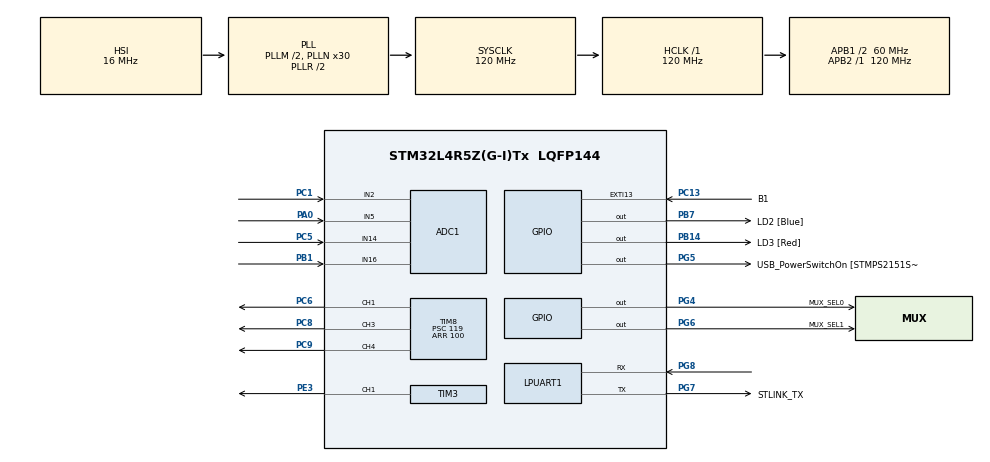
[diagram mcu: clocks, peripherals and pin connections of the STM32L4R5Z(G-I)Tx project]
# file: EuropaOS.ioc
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ADC1.Channel-12\#ChannelRegularConversion=ADC_CHANNEL_14
ADC1.Channel-13\#ChannelRegularConversion=ADC_CHANNEL_5
ADC1.Channel-14\#ChannelRegularConversion=ADC_CHANNEL_16
ADC1.Channel-15\#ChannelRegularConversion=ADC_CHANNEL_2
ADC1.ContinuousConvMode=ENABLE
ADC1.ExternalTrigConv=ADC_SOFTWARE_START
ADC1.NbrOfConversion=4
ADC1.NbrOfConversionFlag=1
ADC1.OffsetNumber-12\#ChannelRegularConversion=ADC_OFFSET_NONE
ADC1.OffsetNumber-13\#ChannelRegularConversion=ADC_OFFSET_NONE
ADC1.OffsetNumber-14\#ChannelRegularConversion=ADC_OFFSET_NONE
ADC1.OffsetNumber-15\#ChannelRegularConversion=ADC_OFFSET_NONE
ADC1.Rank-12\#ChannelRegularConversion=1
ADC1.Rank-13\#ChannelRegularConversion=2
ADC1.Rank-14\#ChannelRegularConversion=3
ADC1.Rank-15\#ChannelRegularConversion=4
ADC1.SamplingTime-12\#ChannelRegularConversion=ADC_SAMPLETIME_92CYCLES_5
ADC1.SamplingTime-13\#ChannelRegularConversion=ADC_SAMPLETIME_92CYCLES_5
ADC1.SamplingTime-14\#ChannelRegularConversion=ADC_SAMPLETIME_92CYCLES_5
ADC1.SamplingTime-15\#ChannelRegularConversion=ADC_SAMPLETIME_92CYCLES_5
ADC1.master=1
FREERTOS.BinarySemaphores01=BinarySem01,Dynamic,NULL
FREERTOS.Tasks01=defaultTask,24,128,StartDefaultTask,Default,NULL,Dynamic,NULL,NULL;VASensors_Task,40,640,va_task,As external,&va_data,Dynamic,NULL,NULL;Motor_Task,40,640,motor_task,Default,&motor_info,Dynamic,NULL,NULL
FREERTOS.configTOTAL_HEAP_SIZE=6500
FREERTOS.configUSE_NEWLIB_REENTRANT=1
LPUART1.WordLength=UART_WORDLENGTH_8B
Mcu.Family=STM32L4
Mcu.Name=STM32L4R5Z(G-I)Tx
Mcu.Package=LQFP144
NVIC.LPUART1_IRQn=true\:5\:0\:false\:false\:true\:true\:true\:true\:true
NVIC.PriorityGroup=NVIC_PRIORITYGROUP_4
NVIC.TIM1_UP_TIM16_IRQn=true\:15\:0\:false\:false\:true\:false\:false\:true\:true
NVIC.TimeBase=TIM1_UP_TIM16_IRQn
NVIC.TimeBaseIP=TIM1
PA0.Signal=ADCx_IN5
PA1.Signal=ADCx_IN6
PA10.GPIO_Label=USB_ID
PA10.Signal=USB_OTG_FS_ID
PA11.GPIO_Label=USB_DM
PA11.Signal=USB_OTG_FS_DM
PA12.GPIO_Label=USB_DP
PA12.Signal=USB_OTG_FS_DP
PA13\ (JTMS/SWDIO).GPIO_Label=TMS
PA13\ (JTMS/SWDIO).Mode=Trace_Asynchronous_SW
PA13\ (JTMS/SWDIO).Signal=SYS_JTMS-SWDIO
PA14\ (JTCK/SWCLK).GPIO_Label=TCK
PA14\ (JTCK/SWCLK).Mode=Trace_Asynchronous_SW
PA14\ (JTCK/SWCLK).Signal=SYS_JTCK-SWCLK
PA7.Signal=ADCx_IN12
PA8.GPIO_Label=USB_SOF [TP1]
PA8.Signal=USB_OTG_FS_SOF
PA9.GPIO_Label=USB_VBUS
PA9.Signal=USB_OTG_FS_VBUS
PB1.Signal=ADCx_IN16
PB14.GPIO_Label=LD3 [Red]
PB14.Signal=GPIO_Output
PB3\ (JTDO/TRACESWO).GPIO_Label=SWO
PB3\ (JTDO/TRACESWO).Mode=Trace_Asynchronous_SW
PB3\ (JTDO/TRACESWO).Signal=SYS_JTDO-SWO
PB7.GPIO_Label=LD2 [Blue]
PB7.Signal=GPIO_Output
PC1.Signal=ADCx_IN2
PC13.GPIO_Label=B1
PC13.Signal=GPXTI13
PC14-OSC32_IN\ (PC14).Mode=LSE-External-Oscillator
PC14-OSC32_IN\ (PC14).Signal=RCC_OSC32_IN
PC15-OSC32_OUT\ (PC15).Mode=LSE-External-Oscillator
PC15-OSC32_OUT\ (PC15).Signal=RCC_OSC32_OUT
PC5.Signal=ADCx_IN14
PC6.Signal=S_TIM8_CH1
PC8.Signal=S_TIM8_CH3
PC9.Signal=S_TIM8_CH4
PD8.GPIO_Label=STLK_RX [STM32F103CBT6_PA3]
PD8.Signal=USART3_TX
PD9.GPIO_Label=STLK_TX [STM32F103CBT6_PA2]
PD9.Signal=USART3_RX
PE3.Signal=S_TIM3_CH1
PG4.GPIO_Label=MUX_SEL0
PG4.Signal=GPIO_Output
PG5.GPIO_Label=USB_PowerSwitchOn [STMPS2151STR_EN]
PG5.Signal=GPIO_Output
PG6.GPIO_Label=MUX_SEL1
PG6.Signal=GPIO_Output
PG7.GPIO_Label=STLINK_TX
PG7.Mode=Asynchronous
PG7.Signal=LPUART1_TX
PG8.Mode=Asynchronous
PG8.Signal=LPUART1_RX
PH0-OSC_IN\ (PH0).Mode=HSE-External-Oscillator
PH0-OSC_IN\ (PH0).Signal=RCC_OSC_IN
PH1-OSC_OUT\ (PH1).Mode=HSE-External-Oscillator
PH1-OSC_OUT\ (PH1).Signal=RCC_OSC_OUT
ProjectManager.HeapSize=0x200
ProjectManager.StackSize=0x400
ProjectManager.TargetToolchain=STM32CubeIDE
RCC.48MHZClocksFreq_Value=24000000
RCC.ADCFreq_Value=48000000
RCC.AHBFreq_Value=120000000
RCC.APB1CLKDivider=RCC_HCLK_DIV2
RCC.APB1Freq_Value=60000000
RCC.APB1TimFreq_Value=120000000
RCC.APB2Freq_Value=120000000
RCC.APB2TimFreq_Value=120000000
RCC.CK48CLockSelection=RCC_USBCLKSOURCE_HSI48
RCC.CortexFreq_Value=120000000
RCC.HCLKFreq_Value=120000000
RCC.HSE_VALUE=8000000
RCC.HSI48_VALUE=48000000
RCC.HSI_VALUE=16000000
RCC.MSI_VALUE=4000000
RCC.PLLM1=2
RCC.PLLM2=2
RCC.PLLMUL=RCC_PLL_MUL9
RCC.PLLN=30
RCC.PLLSAI1N=12
RCC.PLLSourceVirtual=RCC_PLLSOURCE_HSI
RCC.PRESCALERUSB=RCC_USBCLKSOURCE_PLL_DIV1_5
RCC.SYSCLKFreq_VALUE=120000000
RCC.SYSCLKSource=RCC_SYSCLKSOURCE_PLLCLK
RCC.SYSCLKSourceVirtual=RCC_SYSCLKSOURCE_PLLCLK
RCC.USBFreq_Value=48000000
RCC.VCOOutputFreq_Value=240000000
SH.ADCx_IN12.0=ADC1_IN12
SH.ADCx_IN14.0=ADC1_IN14,IN14-Single-Ended
SH.ADCx_IN16.0=ADC1_IN16,IN16-Single-Ended
SH.ADCx_IN2.0=ADC1_IN2,IN2-Single-Ended
SH.ADCx_IN5.0=ADC1_IN5,IN5-Single-Ended
SH.ADCx_IN6.0=ADC1_IN6
SH.S_TIM3_CH1.0=TIM3_CH1,PWM Generation1 CH1
SH.S_TIM8_CH1.0=TIM8_CH1,PWM Generation1 CH1
SH.S_TIM8_CH3.0=TIM8_CH3,PWM Generation3 CH3
SH.S_TIM8_CH4.0=TIM8_CH4,PWM Generation4 CH4
TIM3.Channel-PWM\ Generation1\ CH1=TIM_CHANNEL_1
TIM3.Period=19999
TIM3.Prescaler=119
TIM8.Channel-PWM\ Generation1\ CH1=TIM_CHANNEL_1
TIM8.Channel-PWM\ Generation3\ CH3=TIM_CHANNEL_3
TIM8.Channel-PWM\ Generation4\ CH4=TIM_CHANNEL_4
TIM8.Period=100
TIM8.Prescaler=119
VP_FREERTOS_VS_CMSIS_V2.Mode=CMSIS_V2
VP_SYS_VS_tim1.Mode=TIM1
VP_TIM3_VS_ClockSourceINT.Mode=Internal
VP_TIM8_VS_ClockSourceITR.Mode=TriggerSource_ITR0
VP_TIM8_VS_ControllerModeClock.Mode=Clock Mode
board=NUCLEO-L4R5ZI

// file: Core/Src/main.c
/* USER CODE BEGIN Header */
/**
  ******************************************************************************
  * @file           : main.c
  * @brief          : Main program body
  ******************************************************************************
  * @attention
  *
  * Copyright (c) 2023 STMicroelectronics.
  * All rights reserved.
  *
  * This software is licensed under terms that can be found in the LICENSE file
  * in the root directory of this software component.
  * If no LICENSE file comes with this software, it is provided AS-IS.
  *
  ******************************************************************************
  */
/* USER CODE END Header */
#include "main.h"
#include "cmsis_os.h"

/* USER CODE BEGIN Includes */
#include "uart.h"
#include <stdio.h>
/* USER CODE END Includes */

ADC_HandleTypeDef hadc1;

UART_HandleTypeDef hlpuart1;

TIM_HandleTypeDef htim3;
TIM_HandleTypeDef htim8;

/* Definitions for defaultTask */
osThreadId_t defaultTaskHandle;
const osThreadAttr_t defaultTask_attributes = {
  .name = "defaultTask",
  .stack_size = 128 * 4,
  .priority = (osPriority_t) osPriorityNormal,
};
/* Definitions for VASensors_Task */
osThreadId_t VASensors_TaskHandle;
const osThreadAttr_t VASensors_Task_attributes = {
  .name = "VASensors_Task",
  .stack_size = 640 * 4,
  .priority = (osPriority_t) osPriorityHigh,
};
/* Definitions for Motor_Task */
osThreadId_t Motor_TaskHandle;
const osThreadAttr_t Motor_Task_attributes = {
  .name = "Motor_Task",
  .stack_size = 640 * 4,
  .priority = (osPriority_t) osPriorityHigh,
};
/* Definitions for BinarySem01 */
osSemaphoreId_t BinarySem01Handle;
const osSemaphoreAttr_t BinarySem01_attributes = {
  .name = "BinarySem01"
};
/* USER CODE BEGIN PV */
uint8_t rx[1];
uint8_t data_ready = 0;
/* USER CODE END PV */

void SystemClock_Config(void);
static void MX_GPIO_Init(void);
static void MX_ADC1_Init(void);
static void MX_TIM3_Init(void);
static void MX_LPUART1_UART_Init(void);
static void MX_TIM8_Init(void);
void StartDefaultTask(void *argument);
extern void va_task(void *argument);
void motor_task(void *argument);

/* USER CODE BEGIN 0 */
void HAL_UART_RxCpltCallback(UART_HandleTypeDef *huart) {
	if (huart->Instance == hlpuart1.Instance) {
	    HAL_UART_Receive_IT(&hlpuart1, rx, 1);
	    data_ready = 1;
	}
}
/* USER CODE END 0 */

int main(void)
{
  /* USER CODE BEGIN 1 */
	uint32_t adc_buff[1];
	char str[50];
	uint32_t len;

	motor_info_t motor_info = {
		.gpio_port = 0,//GPIOC,
		.en_pin = 0,//MOTOR_EN_Pin,
		.fwd_pin = 0,//MOTOR_FWD_Pin,
		.rev_pin = 0//MOTOR_REV_Pin
	};

	va_info_t va_data = {
			.adc_handle = &hadc1,
			.uart = &hlpuart1,
			.buff = adc_buff,
			.sem = &BinarySem01Handle
	};

  /* USER CODE END 1 */

  /* MCU Configuration--------------------------------------------------------*/

  /* Reset of all peripherals, Initializes the Flash interface and the Systick. */
  HAL_Init();

  /* Configure the system clock */
  SystemClock_Config();

  /* Initialize all configured peripherals */
  MX_GPIO_Init();
  MX_ADC1_Init();
  MX_TIM3_Init();
  MX_LPUART1_UART_Init();
  MX_TIM8_Init();
  /* USER CODE BEGIN 2 */
  HAL_UART_Receive_IT(&hlpuart1, rx, 1);
  /* USER CODE END 2 */

  /* Init scheduler */
  osKernelInitialize();

  /* Create the semaphores(s) */
  /* creation of BinarySem01 */
  BinarySem01Handle = osSemaphoreNew(1, 1, &BinarySem01_attributes);

  /* Create the thread(s) */
  /* creation of defaultTask */
  defaultTaskHandle = osThreadNew(StartDefaultTask, NULL, &defaultTask_attributes);

  /* creation of VASensors_Task */
  VASensors_TaskHandle = osThreadNew(va_task, (void*) &va_data, &VASensors_Task_attributes);

  /* creation of Motor_Task */
  Motor_TaskHandle = osThreadNew(motor_task, (void*) &motor_info, &Motor_Task_attributes);

  /* USER CODE BEGIN RTOS_EVENTS */
  /* add events, ... */
  len = sprintf(str, "Starting RTOS Tasks...\r\n");
  print(&hlpuart1, str, len);
  /* USER CODE END RTOS_EVENTS */

  /* Start scheduler */
  osKernelStart();

  /* We should never get here as control is now taken by the scheduler */
  /* Infinite loop */
  while (1)
  {

    /* USER CODE BEGIN 3 */
//	sprintf(tx, "ADC VALUE: %ld\r\n", adc_buff[0]);
//	print(&hlpuart1, tx, sizeof(tx));
//	HAL_Delay(500);
  }
  /* USER CODE END 3 */
}

void SystemClock_Config(void)
{
  RCC_OscInitTypeDef RCC_OscInitStruct = {0};
  RCC_ClkInitTypeDef RCC_ClkInitStruct = {0};

  /** Configure the main internal regulator output voltage
  */
  if (HAL_PWREx_ControlVoltageScaling(PWR_REGULATOR_VOLTAGE_SCALE1_BOOST) != HAL_OK)
  {
    Error_Handler();
  }

  /** Initializes the RCC Oscillators according to the specified parameters
  * in the RCC_OscInitTypeDef structure.
  */
  RCC_OscInitStruct.OscillatorType = RCC_OSCILLATORTYPE_HSI;
  RCC_OscInitStruct.HSIState = RCC_HSI_ON;
  RCC_OscInitStruct.HSICalibrationValue = RCC_HSICALIBRATION_DEFAULT;
  RCC_OscInitStruct.PLL.PLLState = RCC_PLL_ON;
  RCC_OscInitStruct.PLL.PLLSource = RCC_PLLSOURCE_HSI;
  RCC_OscInitStruct.PLL.PLLM = 2;
  RCC_OscInitStruct.PLL.PLLN = 30;
  RCC_OscInitStruct.PLL.PLLP = RCC_PLLP_DIV2;
  RCC_OscInitStruct.PLL.PLLQ = RCC_PLLQ_DIV2;
  RCC_OscInitStruct.PLL.PLLR = RCC_PLLR_DIV2;
  if (HAL_RCC_OscConfig(&RCC_OscInitStruct) != HAL_OK)
  {
    Error_Handler();
  }

  /** Initializes the CPU, AHB and APB buses clocks
  */
  RCC_ClkInitStruct.ClockType = RCC_CLOCKTYPE_HCLK|RCC_CLOCKTYPE_SYSCLK
                              |RCC_CLOCKTYPE_PCLK1|RCC_CLOCKTYPE_PCLK2;
  RCC_ClkInitStruct.SYSCLKSource = RCC_SYSCLKSOURCE_PLLCLK;
  RCC_ClkInitStruct.AHBCLKDivider = RCC_SYSCLK_DIV1;
  RCC_ClkInitStruct.APB1CLKDivider = RCC_HCLK_DIV2;
  RCC_ClkInitStruct.APB2CLKDivider = RCC_HCLK_DIV1;

  if (HAL_RCC_ClockConfig(&RCC_ClkInitStruct, FLASH_LATENCY_5) != HAL_OK)
  {
    Error_Handler();
  }
}

static void MX_ADC1_Init(void)
{

  ADC_ChannelConfTypeDef sConfig = {0};

  /** Common config
  */
  hadc1.Instance = ADC1;
  hadc1.Init.ClockPrescaler = ADC_CLOCK_ASYNC_DIV1;
  hadc1.Init.Resolution = ADC_RESOLUTION_12B;
  hadc1.Init.DataAlign = ADC_DATAALIGN_RIGHT;
  hadc1.Init.ScanConvMode = ADC_SCAN_ENABLE;
  hadc1.Init.EOCSelection = ADC_EOC_SINGLE_CONV;
  hadc1.Init.LowPowerAutoWait = DISABLE;
  hadc1.Init.ContinuousConvMode = ENABLE;
  hadc1.Init.NbrOfConversion = 4;
  hadc1.Init.DiscontinuousConvMode = DISABLE;
  hadc1.Init.ExternalTrigConv = ADC_SOFTWARE_START;
  hadc1.Init.ExternalTrigConvEdge = ADC_EXTERNALTRIGCONVEDGE_NONE;
  hadc1.Init.DMAContinuousRequests = DISABLE;
  hadc1.Init.Overrun = ADC_OVR_DATA_PRESERVED;
  hadc1.Init.OversamplingMode = DISABLE;
  if (HAL_ADC_Init(&hadc1) != HAL_OK)
  {
    Error_Handler();
  }

  /** Configure Regular Channel
  */
  sConfig.Channel = ADC_CHANNEL_14;
  sConfig.Rank = ADC_REGULAR_RANK_1;
  sConfig.SamplingTime = ADC_SAMPLETIME_92CYCLES_5;
  sConfig.SingleDiff = ADC_SINGLE_ENDED;
  sConfig.OffsetNumber = ADC_OFFSET_NONE;
  sConfig.Offset = 0;
  if (HAL_ADC_ConfigChannel(&hadc1, &sConfig) != HAL_OK)
  {
    Error_Handler();
  }

  /** Configure Regular Channel
  */
  sConfig.Channel = ADC_CHANNEL_5;
  sConfig.Rank = ADC_REGULAR_RANK_2;
  if (HAL_ADC_ConfigChannel(&hadc1, &sConfig) != HAL_OK)
  {
    Error_Handler();
  }

  /** Configure Regular Channel
  */
  sConfig.Channel = ADC_CHANNEL_16;
  sConfig.Rank = ADC_REGULAR_RANK_3;
  if (HAL_ADC_ConfigChannel(&hadc1, &sConfig) != HAL_OK)
  {
    Error_Handler();
  }

  /** Configure Regular Channel
  */
  sConfig.Channel = ADC_CHANNEL_2;
  sConfig.Rank = ADC_REGULAR_RANK_4;
  if (HAL_ADC_ConfigChannel(&hadc1, &sConfig) != HAL_OK)
  {
    Error_Handler();
  }

}

static void MX_LPUART1_UART_Init(void)
{

  hlpuart1.Instance = LPUART1;
  hlpuart1.Init.BaudRate = 209700;
  hlpuart1.Init.WordLength = UART_WORDLENGTH_8B;
  hlpuart1.Init.StopBits = UART_STOPBITS_1;
  hlpuart1.Init.Parity = UART_PARITY_NONE;
  hlpuart1.Init.Mode = UART_MODE_TX_RX;
  hlpuart1.Init.HwFlowCtl = UART_HWCONTROL_NONE;
  hlpuart1.Init.OneBitSampling = UART_ONE_BIT_SAMPLE_DISABLE;
  hlpuart1.Init.ClockPrescaler = UART_PRESCALER_DIV1;
  hlpuart1.AdvancedInit.AdvFeatureInit = UART_ADVFEATURE_NO_INIT;
  hlpuart1.FifoMode = UART_FIFOMODE_DISABLE;
  if (HAL_UART_Init(&hlpuart1) != HAL_OK)
  {
    Error_Handler();
  }
  if (HAL_UARTEx_SetTxFifoThreshold(&hlpuart1, UART_TXFIFO_THRESHOLD_1_8) != HAL_OK)
  {
    Error_Handler();
  }
  if (HAL_UARTEx_SetRxFifoThreshold(&hlpuart1, UART_RXFIFO_THRESHOLD_1_8) != HAL_OK)
  {
    Error_Handler();
  }
  if (HAL_UARTEx_DisableFifoMode(&hlpuart1) != HAL_OK)
  {
    Error_Handler();
  }
  /* USER CODE BEGIN LPUART1_Init 2 */
  if (HAL_UART_Init(&hlpuart1) != HAL_OK) {
	  Error_Handler();
  }
  HAL_UART_MspInit(&hlpuart1);
  /* USER CODE END LPUART1_Init 2 */

}

static void MX_TIM3_Init(void)
{

  TIM_ClockConfigTypeDef sClockSourceConfig = {0};
  TIM_MasterConfigTypeDef sMasterConfig = {0};
  TIM_OC_InitTypeDef sConfigOC = {0};

  htim3.Instance = TIM3;
  htim3.Init.Prescaler = 119;
  htim3.Init.CounterMode = TIM_COUNTERMODE_UP;
  htim3.Init.Period = 19999;
  htim3.Init.ClockDivision = TIM_CLOCKDIVISION_DIV1;
  htim3.Init.AutoReloadPreload = TIM_AUTORELOAD_PRELOAD_DISABLE;
  if (HAL_TIM_Base_Init(&htim3) != HAL_OK)
  {
    Error_Handler();
  }
  sClockSourceConfig.ClockSource = TIM_CLOCKSOURCE_INTERNAL;
  if (HAL_TIM_ConfigClockSource(&htim3, &sClockSourceConfig) != HAL_OK)
  {
    Error_Handler();
  }
  if (HAL_TIM_PWM_Init(&htim3) != HAL_OK)
  {
    Error_Handler();
  }
  sMasterConfig.MasterOutputTrigger = TIM_TRGO_RESET;
  sMasterConfig.MasterSlaveMode = TIM_MASTERSLAVEMODE_DISABLE;
  if (HAL_TIMEx_MasterConfigSynchronization(&htim3, &sMasterConfig) != HAL_OK)
  {
    Error_Handler();
  }
  sConfigOC.OCMode = TIM_OCMODE_PWM1;
  sConfigOC.Pulse = 0;
  sConfigOC.OCPolarity = TIM_OCPOLARITY_HIGH;
  sConfigOC.OCFastMode = TIM_OCFAST_DISABLE;
  if (HAL_TIM_PWM_ConfigChannel(&htim3, &sConfigOC, TIM_CHANNEL_1) != HAL_OK)
  {
    Error_Handler();
  }
  /* USER CODE BEGIN TIM3_Init 2 */
  HAL_TIM_Base_Start(&htim3);
  HAL_TIM_IC_Start(&htim3, TIM_CHANNEL_1);
  /* USER CODE END TIM3_Init 2 */
  HAL_TIM_MspPostInit(&htim3);

}

static void MX_TIM8_Init(void)
{

  TIM_SlaveConfigTypeDef sSlaveConfig = {0};
  TIM_MasterConfigTypeDef sMasterConfig = {0};
  TIM_OC_InitTypeDef sConfigOC = {0};
  TIM_BreakDeadTimeConfigTypeDef sBreakDeadTimeConfig = {0};

  htim8.Instance = TIM8;
  htim8.Init.Prescaler = 119;
  htim8.Init.CounterMode = TIM_COUNTERMODE_UP;
  htim8.Init.Period = 100;
  htim8.Init.ClockDivision = TIM_CLOCKDIVISION_DIV1;
  htim8.Init.RepetitionCounter = 0;
  htim8.Init.AutoReloadPreload = TIM_AUTORELOAD_PRELOAD_DISABLE;
  if (HAL_TIM_Base_Init(&htim8) != HAL_OK)
  {
    Error_Handler();
  }
  if (HAL_TIM_PWM_Init(&htim8) != HAL_OK)
  {
    Error_Handler();
  }
  sSlaveConfig.SlaveMode = TIM_SLAVEMODE_EXTERNAL1;
  sSlaveConfig.InputTrigger = TIM_TS_ITR0;
  if (HAL_TIM_SlaveConfigSynchro(&htim8, &sSlaveConfig) != HAL_OK)
  {
    Error_Handler();
  }
  sMasterConfig.MasterOutputTrigger = TIM_TRGO_RESET;
  sMasterConfig.MasterOutputTrigger2 = TIM_TRGO2_RESET;
  sMasterConfig.MasterSlaveMode = TIM_MASTERSLAVEMODE_DISABLE;
  if (HAL_TIMEx_MasterConfigSynchronization(&htim8, &sMasterConfig) != HAL_OK)
  {
    Error_Handler();
  }
  sConfigOC.OCMode = TIM_OCMODE_PWM1;
  sConfigOC.Pulse = 0;
  sConfigOC.OCPolarity = TIM_OCPOLARITY_HIGH;
  sConfigOC.OCNPolarity = TIM_OCNPOLARITY_HIGH;
  sConfigOC.OCFastMode = TIM_OCFAST_DISABLE;
  sConfigOC.OCIdleState = TIM_OCIDLESTATE_RESET;
  sConfigOC.OCNIdleState = TIM_OCNIDLESTATE_RESET;
  if (HAL_TIM_PWM_ConfigChannel(&htim8, &sConfigOC, TIM_CHANNEL_1) != HAL_OK)
  {
    Error_Handler();
  }
  if (HAL_TIM_PWM_ConfigChannel(&htim8, &sConfigOC, TIM_CHANNEL_3) != HAL_OK)
  {
    Error_Handler();
  }
  if (HAL_TIM_PWM_ConfigChannel(&htim8, &sConfigOC, TIM_CHANNEL_4) != HAL_OK)
  {
    Error_Handler();
  }
  sBreakDeadTimeConfig.OffStateRunMode = TIM_OSSR_DISABLE;
  sBreakDeadTimeConfig.OffStateIDLEMode = TIM_OSSI_DISABLE;
  sBreakDeadTimeConfig.LockLevel = TIM_LOCKLEVEL_OFF;
  sBreakDeadTimeConfig.DeadTime = 0;
  sBreakDeadTimeConfig.BreakState = TIM_BREAK_DISABLE;
  sBreakDeadTimeConfig.BreakPolarity = TIM_BREAKPOLARITY_HIGH;
  sBreakDeadTimeConfig.BreakFilter = 0;
  sBreakDeadTimeConfig.Break2State = TIM_BREAK2_DISABLE;
  sBreakDeadTimeConfig.Break2Polarity = TIM_BREAK2POLARITY_HIGH;
  sBreakDeadTimeConfig.Break2Filter = 0;
  sBreakDeadTimeConfig.AutomaticOutput = TIM_AUTOMATICOUTPUT_DISABLE;
  if (HAL_TIMEx_ConfigBreakDeadTime(&htim8, &sBreakDeadTimeConfig) != HAL_OK)
  {
    Error_Handler();
  }
  /* USER CODE BEGIN TIM8_Init 2 */
  HAL_TIM_Base_Start(&htim8);
  HAL_TIM_IC_Start(&htim8, TIM_CHANNEL_1);
  HAL_TIM_IC_Start(&htim8, TIM_CHANNEL_3);
  HAL_TIM_IC_Start(&htim8, TIM_CHANNEL_4);
  /* USER CODE END TIM8_Init 2 */
  HAL_TIM_MspPostInit(&htim8);

}

static void MX_GPIO_Init(void)
{
  GPIO_InitTypeDef GPIO_InitStruct = {0};

  /* GPIO Ports Clock Enable */
  __HAL_RCC_GPIOE_CLK_ENABLE();
  __HAL_RCC_GPIOC_CLK_ENABLE();
  __HAL_RCC_GPIOH_CLK_ENABLE();
  __HAL_RCC_GPIOA_CLK_ENABLE();
  __HAL_RCC_GPIOB_CLK_ENABLE();
  __HAL_RCC_GPIOD_CLK_ENABLE();
  __HAL_RCC_GPIOG_CLK_ENABLE();
  HAL_PWREx_EnableVddIO2();

  /*Configure GPIO pin Output Level */
  HAL_GPIO_WritePin(GPIOB, LD3_Pin|LD2_Pin, GPIO_PIN_RESET);

  /*Configure GPIO pin Output Level */
  HAL_GPIO_WritePin(GPIOG, MUX_SEL0_Pin|USB_PowerSwitchOn_Pin|MUX_SEL1_Pin, GPIO_PIN_RESET);

  /*Configure GPIO pin : B1_Pin */
  GPIO_InitStruct.Pin = B1_Pin;
  GPIO_InitStruct.Mode = GPIO_MODE_IT_RISING;
  GPIO_InitStruct.Pull = GPIO_NOPULL;
  HAL_GPIO_Init(B1_GPIO_Port, &GPIO_InitStruct);

  /*Configure GPIO pins : LD3_Pin LD2_Pin */
  GPIO_InitStruct.Pin = LD3_Pin|LD2_Pin;
  GPIO_InitStruct.Mode = GPIO_MODE_OUTPUT_PP;
  GPIO_InitStruct.Pull = GPIO_NOPULL;
  GPIO_InitStruct.Speed = GPIO_SPEED_FREQ_LOW;
  HAL_GPIO_Init(GPIOB, &GPIO_InitStruct);

  /*Configure GPIO pins : STLK_RX_Pin STLK_TX_Pin */
  GPIO_InitStruct.Pin = STLK_RX_Pin|STLK_TX_Pin;
  GPIO_InitStruct.Mode = GPIO_MODE_AF_PP;
  GPIO_InitStruct.Pull = GPIO_NOPULL;
  GPIO_InitStruct.Speed = GPIO_SPEED_FREQ_VERY_HIGH;
  GPIO_InitStruct.Alternate = GPIO_AF7_USART3;
  HAL_GPIO_Init(GPIOD, &GPIO_InitStruct);

  /*Configure GPIO pins : MUX_SEL0_Pin USB_PowerSwitchOn_Pin MUX_SEL1_Pin */
  GPIO_InitStruct.Pin = MUX_SEL0_Pin|USB_PowerSwitchOn_Pin|MUX_SEL1_Pin;
  GPIO_InitStruct.Mode = GPIO_MODE_OUTPUT_PP;
  GPIO_InitStruct.Pull = GPIO_NOPULL;
  GPIO_InitStruct.Speed = GPIO_SPEED_FREQ_LOW;
  HAL_GPIO_Init(GPIOG, &GPIO_InitStruct);

  /*Configure GPIO pins : USB_SOF_Pin USB_ID_Pin USB_DM_Pin USB_DP_Pin */
  GPIO_InitStruct.Pin = USB_SOF_Pin|USB_ID_Pin|USB_DM_Pin|USB_DP_Pin;
  GPIO_InitStruct.Mode = GPIO_MODE_AF_PP;
  GPIO_InitStruct.Pull = GPIO_NOPULL;
  GPIO_InitStruct.Speed = GPIO_SPEED_FREQ_VERY_HIGH;
  GPIO_InitStruct.Alternate = GPIO_AF10_OTG_FS;
  HAL_GPIO_Init(GPIOA, &GPIO_InitStruct);

  /*Configure GPIO pin : USB_VBUS_Pin */
  GPIO_InitStruct.Pin = USB_VBUS_Pin;
  GPIO_InitStruct.Mode = GPIO_MODE_INPUT;
  GPIO_InitStruct.Pull = GPIO_NOPULL;
  HAL_GPIO_Init(USB_VBUS_GPIO_Port, &GPIO_InitStruct);

}

void StartDefaultTask(void *argument)
{
  /* USER CODE BEGIN 5 */
  char str[75];
  uint32_t len;
  len = sprintf(str, "Main Task?\r\n");
  print(&hlpuart1, str, len);
  /* Infinite loop */
  for(;;)
  {
    osDelay(1);
    // Do nothing forever....
  }
  /* USER CODE END 5 */
}

void motor_task(void *argument)
{
  /* USER CODE BEGIN motor_task */
  motor_info_t *motor_info = (motor_info_t *) argument;
  char str[75];
  uint32_t len;
  len = sprintf(str, "Motor Task Started. Awaiting Motor Instructions...\r\n");
  print(&hlpuart1, str, len);

  /* Infinite loop */
  for(;;)
  {
	//osSemaphoreAcquire(BinarySem01Handle, 100);
	if (data_ready > 0) {
	len = sprintf(str, "Instruction Received %c \r\n", rx[0]);
	print(&hlpuart1, str, len);
    switch ((char)rx[0]) {
			case 'W':
			case 'w':
				motor_instruction(motor_info, MOTOR_FORWARD);
				break;
			case 'S':
			case 's':
				motor_instruction(motor_info, MOTOR_REVERSE);
				break;
			case 'X':
			case 'x':
				motor_instruction(motor_info, MOTOR_ACTIVE_STOP);
				break;
			case '0':
				servo_move_pos(0);
				break;
			case '1':
				servo_move_pos(1);
				break;
			case '2':
				servo_move_pos(2);
				break;
			case '3':
				servo_move_pos(3);
				break;
			case '4':
				servo_move_pos(4);
				break;
			case '5':
				servo_move_pos(5);
				break;
			default:
				break;
    }
    data_ready = 0;
    }
	//osSemaphoreRelease(BinarySem01Handle);
	vTaskDelay(100);
  }
  /* USER CODE END motor_task */
}

void HAL_TIM_PeriodElapsedCallback(TIM_HandleTypeDef *htim)
{
  if (htim->Instance == TIM1) {
    HAL_IncTick();
  }
}

void Error_Handler(void)
{
  __disable_irq();
  while (1)
  {
  }
}
